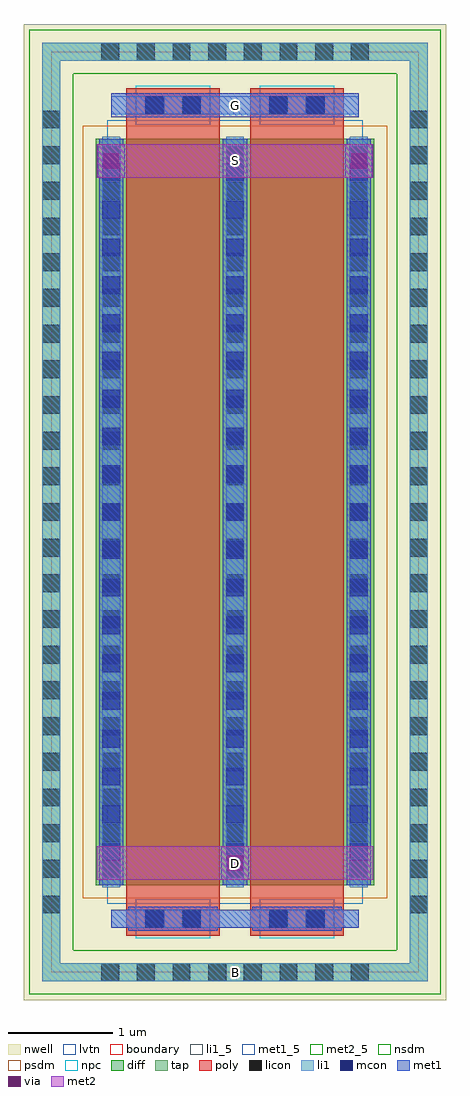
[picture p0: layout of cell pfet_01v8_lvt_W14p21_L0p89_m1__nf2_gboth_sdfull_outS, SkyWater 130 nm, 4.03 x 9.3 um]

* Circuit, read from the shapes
.subckt pfet_01v8_lvt_W14p21_L0p89_m1__nf2_gboth_sdfull_outS B D G S
XM1 D G S B sky130_fd_pr__pfet_01v8_lvt w=7.11 l=0.89 m=2
.ends

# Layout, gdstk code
import gdstk
lib = gdstk.Library(unit=1e-6, precision=1e-09)
def R(c, l, rs):  # rectangles x0, y0, x1, y1
    for r in rs: c.add(gdstk.rectangle(r[:2], r[2:], *l))
def A(c, l, x, y, w, h, nx, ny, dx, dy):  # array of equal rectangles
    R(c, l, [(x+i*dx, y+j*dy, x+i*dx+w, y+j*dy+h) for i in range(nx) for j in range(ny)])
nwell = (64, 20)
diff = (65, 20)
tap = (65, 44)
poly = (66, 20)
licon = (66, 44)
li1_5 = (67, 5)
li1 = (67, 20)
mcon = (67, 44)
met1_5 = (68, 5)
met1 = (68, 20)
via = (68, 44)
met2_5 = (69, 5)
met2 = (69, 20)
nsdm = (93, 44)
psdm = (94, 20)
npc = (95, 20)
lvtn = (125, 44)
boundary = (235, 4)

sky130_fd_pr__pfet_01v8_ = lib.new_cell('sky130_fd_pr__pfet_01v8_lvt_K3GXMD')
R(sky130_fd_pr__pfet_01v8_, nwell, [(-2.015,-4.65,2.015,4.65)])
R(sky130_fd_pr__pfet_01v8_, diff, [(-1.325,-3.555,1.325,3.555)])
R(sky130_fd_pr__pfet_01v8_, tap, [(-1.835,-4.47,1.835,-4.3), (-1.835,-4.3,-1.665,4.3), (1.665,-4.3,1.835,4.3), (-1.835,4.3,1.835,4.47)])
R(sky130_fd_pr__pfet_01v8_, poly, [(-1.035,-4.04,-0.145,4.04), (0.145,-4.04,1.035,4.04)])
A(sky130_fd_pr__pfet_01v8_, licon, -1.275, -4.47, 0.17, 0.17, 8, 2, 0.34, 8.77)
A(sky130_fd_pr__pfet_01v8_, licon, -1.835, -3.825, 0.17, 0.17, 1, 23, 0, 0.34)
A(sky130_fd_pr__pfet_01v8_, licon, 1.665, -3.825, 0.17, 0.17, 1, 23, 0, 0.34)
A(sky130_fd_pr__pfet_01v8_, licon, -1.265, -3.485, 0.17, 0.17, 3, 21, 1.18, 0.34)
R(sky130_fd_pr__pfet_01v8_, licon, [(-0.845,-3.96,-0.675,-3.79), (-0.505,-3.96,-0.335,-3.79), (0.335,-3.96,0.505,-3.79), (0.675,-3.96,0.845,-3.79), (-0.845,3.79,-0.675,3.96), (-0.505,3.79,-0.335,3.96), (0.335,3.79,0.505,3.96), (0.675,3.79,0.845,3.96)])
A(sky130_fd_pr__pfet_01v8_, li1, -1.265, -3.575, 0.17, 7.15, 3, 1, 1.18, 0)
R(sky130_fd_pr__pfet_01v8_, li1, [(-1.835,-4.47,1.835,-4.3), (-1.835,-4.3,-1.665,4.3), (1.665,-4.3,1.835,4.3), (-1.18,-3.96,1.18,-3.79), (-1.18,3.79,1.18,3.96), (-1.835,4.3,1.835,4.47)])
A(sky130_fd_pr__pfet_01v8_, mcon, -1.265, -3.325, 0.17, 0.17, 3, 19, 1.18, 0.36)
R(sky130_fd_pr__pfet_01v8_, mcon, [(-0.855,-3.96,-0.685,-3.79), (-0.495,-3.96,-0.325,-3.79), (0.325,-3.96,0.495,-3.79), (0.685,-3.96,0.855,-3.79), (-0.855,3.79,-0.685,3.96), (-0.495,3.79,-0.325,3.96), (0.325,3.79,0.495,3.96), (0.685,3.79,0.855,3.96)])
A(sky130_fd_pr__pfet_01v8_, met1, -1.295, -3.555, 0.23, 7.11, 3, 1, 1.18, 0)
R(sky130_fd_pr__pfet_01v8_, met1, [(-1.015,-3.99,-0.165,-3.96), (0.165,-3.99,1.015,-3.96), (-1.18,-3.96,1.18,-3.79), (-1.015,-3.79,-0.165,-3.76), (0.165,-3.79,1.015,-3.76), (-1.015,3.76,-0.165,3.79), (0.165,3.76,1.015,3.79), (-1.18,3.79,1.18,3.96), (-1.015,3.96,-0.165,3.99), (0.165,3.96,1.015,3.99)])
R(sky130_fd_pr__pfet_01v8_, nsdm, [(-1.96,-4.595,1.96,-4.175), (-1.96,-4.175,-1.54,4.175), (1.54,-4.175,1.96,4.175), (-1.96,4.175,1.96,4.595)])
R(sky130_fd_pr__pfet_01v8_, psdm, [(-1.45,-3.68,1.45,3.68)])
R(sky130_fd_pr__pfet_01v8_, npc, [(-0.945,-4.06,-0.235,-3.69), (0.235,-4.06,0.945,-3.69), (-0.945,3.69,-0.235,4.06), (0.235,3.69,0.945,4.06)])
R(sky130_fd_pr__pfet_01v8_, lvtn, [(-1.215,-3.735,1.215,3.735)])
R(sky130_fd_pr__pfet_01v8_, boundary, [(-1.75,-4.385,1.75,4.385)])
sky130_fd_pr__pfet_01v8_.add(gdstk.Label('B', (0,-4.385), layer=67, texttype=5))
sky130_fd_pr__pfet_01v8_.add(gdstk.Label('D0', (-1.18,0), layer=67, texttype=5))
sky130_fd_pr__pfet_01v8_.add(gdstk.Label('G', (0.59,3.875), layer=67, texttype=5))
sky130_fd_pr__pfet_01v8_.add(gdstk.Label('G', (-0.59,3.875), layer=67, texttype=5))
sky130_fd_pr__pfet_01v8_.add(gdstk.Label('S1', (0,0), layer=67, texttype=5))

pfet_01v8_lvt_w14p21_l0p = lib.new_cell('pfet_01v8_lvt_W14p21_L0p89_m1__nf2_gboth_sdfull_outS')
R(pfet_01v8_lvt_w14p21_l0p, li1_5, [(1.665,-0.085,1.835,0.085)])
R(pfet_01v8_lvt_w14p21_l0p, li1, [(1.665,-0.085,1.835,0.085)])
R(pfet_01v8_lvt_w14p21_l0p, met1_5, [(0.57,8.145,2.93,8.375)])
R(pfet_01v8_lvt_w14p21_l0p, met1, [(1.62,0.88,1.88,1.2), (0.44,7.57,0.7,7.89), (2.8,7.57,3.06,7.89), (0.57,8.145,2.93,8.375)])
R(pfet_01v8_lvt_w14p21_l0p, via, [(1.675,0.965,1.825,1.115), (0.495,7.655,0.645,7.805), (2.855,7.655,3.005,7.805)])
R(pfet_01v8_lvt_w14p21_l0p, met2_5, [(0.435,0.88,3.065,1.2), (0.435,7.57,3.065,7.89)])
R(pfet_01v8_lvt_w14p21_l0p, met2, [(0.435,0.88,3.065,1.2), (0.435,7.57,3.065,7.89)])
pfet_01v8_lvt_w14p21_l0p.add(gdstk.Reference(sky130_fd_pr__pfet_01v8_, (1.75,4.385)))
pfet_01v8_lvt_w14p21_l0p.add(gdstk.Label('S', (1.75,7.73), layer=69, texttype=5))
pfet_01v8_lvt_w14p21_l0p.add(gdstk.Label('D', (1.75,1.04), layer=69, texttype=5))
pfet_01v8_lvt_w14p21_l0p.add(gdstk.Label('G', (1.75,8.26), layer=68, texttype=5))
pfet_01v8_lvt_w14p21_l0p.add(gdstk.Label('B', (1.75,0), layer=67, texttype=5))

lib.write_gds('pfet_01v8_lvt_W14p21_L0p89_m1__nf2_gboth_sdfull_outS.gds')
